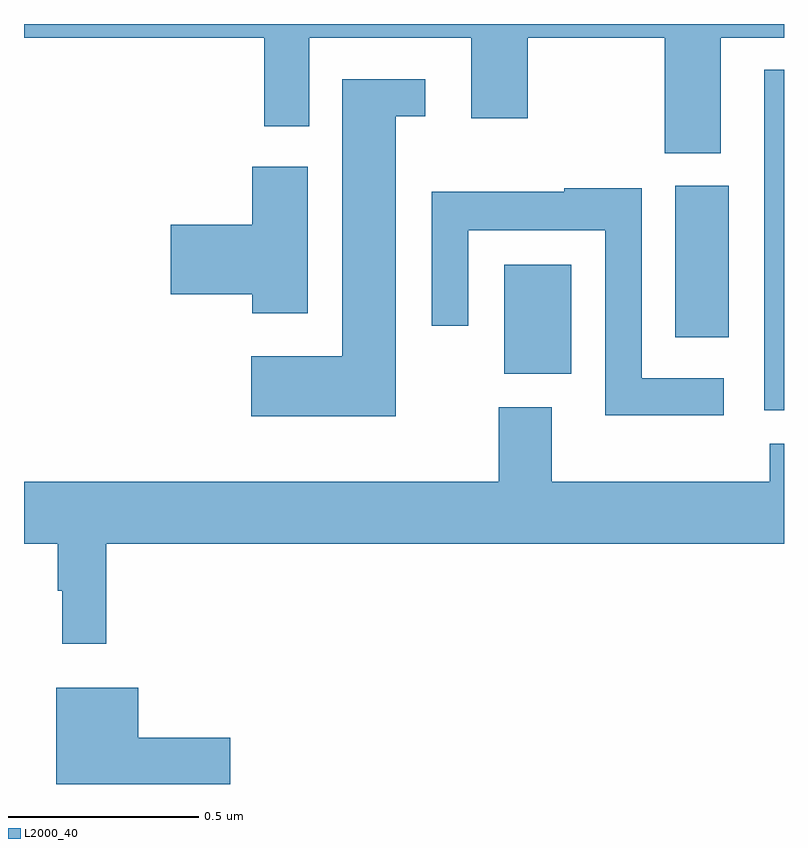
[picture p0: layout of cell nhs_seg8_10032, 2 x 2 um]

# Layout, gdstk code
import gdstk
lib = gdstk.Library(unit=1e-6, precision=1e-09)
def R(c, l, rs):  # rectangles x0, y0, x1, y1
    for r in rs: c.add(gdstk.rectangle(r[:2], r[2:], *l))
def P(c, l, *ps):  # polygons
    for p in ps: c.add(gdstk.Polygon(p, *l))
L2000_40 = (2000, 40)

nhs_seg8_10032 = lib.new_cell('nhs_seg8_10032')
R(nhs_seg8_10032, L2000_40, [(245.948,1084.883,246,1085.779), (245.264,1084.979,245.44,1085.266), (245.714,1085.076,245.854,1085.475)])
P(nhs_seg8_10032, L2000_40, [(245.833,1085.864),(246,1085.864),(246,1085.9),(244,1085.9),(244,1085.864),(244.632,1085.864),(244.632,1085.631),(244.75,1085.631),(244.75,1085.864),(245.177,1085.864),(245.177,1085.652),(245.325,1085.652),(245.325,1085.864),(245.686,1085.864),(245.686,1085.56),(245.833,1085.56)],
  [(244.978,1085.657),(245.056,1085.657),(245.056,1085.754),(244.838,1085.754),(244.838,1085.026),(244.598,1085.026),(244.598,1084.868),(244.978,1084.868)],
  [(244.747,1085.524),(244.601,1085.524),(244.601,1085.372),(244.386,1085.372),(244.386,1085.189),(244.601,1085.189),(244.601,1085.139),(244.747,1085.139)],
  [(245.842,1084.968),(245.625,1084.968),(245.625,1085.468),(245.422,1085.468),(245.422,1085.458),(245.073,1085.458),(245.073,1085.106),(245.169,1085.106),(245.169,1085.357),(245.529,1085.357),(245.529,1084.871),(245.842,1084.871)],
  [(244.217,1084.532),(246,1084.532),(246,1084.795),(245.963,1084.795),(245.963,1084.696),(245.389,1084.696),(245.389,1084.891),(245.249,1084.891),(245.249,1084.696),(244,1084.696),(244,1084.532),(244.089,1084.532),(244.089,1084.409),(244.1,1084.409),(244.1,1084.269),(244.217,1084.269)],
  [(244.543,1084.022),(244.3,1084.022),(244.3,1084.153),(244.085,1084.153),(244.085,1083.9),(244.543,1083.9)])

lib.write_gds('nhs_seg8_10032.gds')
